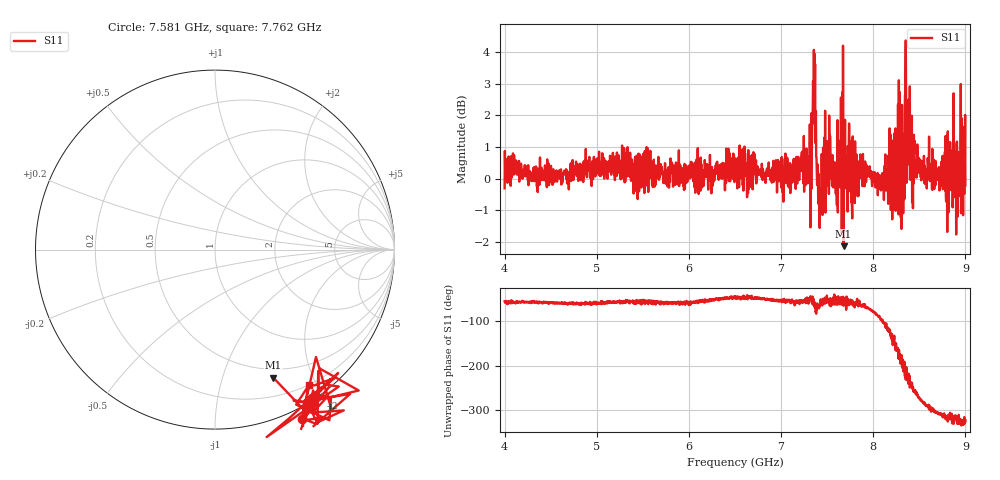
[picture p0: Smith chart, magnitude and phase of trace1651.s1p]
! Created with skrf 1.8.0 (http://scikit-rf.org).
# Hz S RI R 50.0
!freq ReS11 ImS11
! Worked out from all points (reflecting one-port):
!   1601 points, 4 GHz to 9 GHz, reference 50 ohm
!   lowest |S11| = -2.1 dB at 7.678 GHz (marker M1), VSWR 8.21, Z = 20.1 - j73.9 ohm
!   phase of S11 starts at -56 deg and turns -267 deg over the sweep
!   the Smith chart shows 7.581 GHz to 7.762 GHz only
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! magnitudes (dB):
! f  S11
! 4 GHz  -0.3
! 4.625 GHz  -0.1
! 5.25 GHz  0.2
! 5.875 GHz  0.3
! 6.5 GHz  0.3
! 7.125 GHz  0.4
! 7.303 GHz  0.0
! 7.356 GHz  4.1
! 7.372 GHz  1.7
! 7.406 GHz  0.2
! 7.425 GHz  -0.6
! 7.509 GHz  0.3
! 7.591 GHz  0.3
! 7.65 GHz  2.6
! 7.678 GHz  -2.1
! 7.703 GHz  0.2
! 7.75 GHz  -0.1
! 8.091 GHz  0.0
! 8.228 GHz  1.4
! 8.262 GHz  -0.7
! 8.312 GHz  2.3
! 8.334 GHz  0.9
! 8.375 GHz  0.4
! 8.384 GHz  2.5
! 8.447 GHz  1.2
! 8.919 GHz  -0.4
! 8.972 GHz  0.1
! 9 GHz  -0.2
